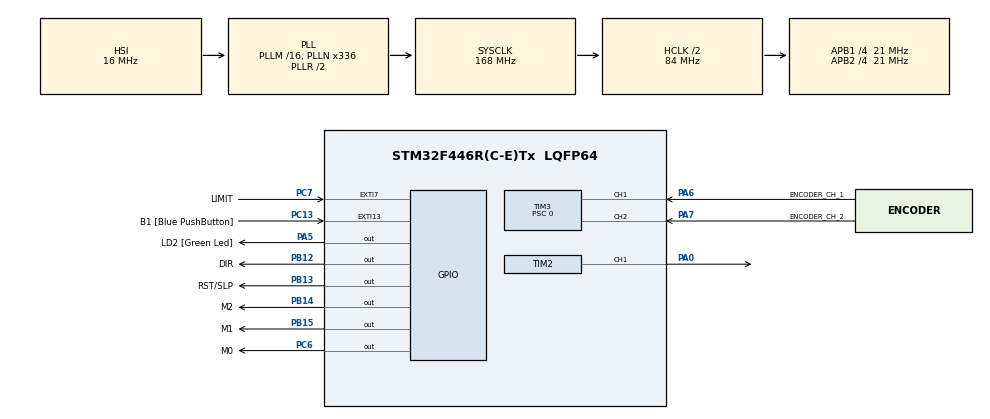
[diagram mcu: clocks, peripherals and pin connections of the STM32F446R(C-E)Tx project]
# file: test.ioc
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Dma.Request0=TIM4_UP
Dma.TIM4_UP.0.Direction=DMA_PERIPH_TO_MEMORY
Dma.TIM4_UP.0.FIFOMode=DMA_FIFOMODE_DISABLE
Dma.TIM4_UP.0.Instance=DMA1_Stream6
Dma.TIM4_UP.0.MemDataAlignment=DMA_MDATAALIGN_HALFWORD
Dma.TIM4_UP.0.MemInc=DMA_MINC_ENABLE
Dma.TIM4_UP.0.Mode=DMA_CIRCULAR
Dma.TIM4_UP.0.PeriphDataAlignment=DMA_PDATAALIGN_HALFWORD
Dma.TIM4_UP.0.PeriphInc=DMA_PINC_DISABLE
Dma.TIM4_UP.0.Priority=DMA_PRIORITY_LOW
Mcu.Family=STM32F4
Mcu.Name=STM32F446R(C-E)Tx
Mcu.Package=LQFP64
NVIC.DMA1_Stream6_IRQn=true\:0\:0\:false\:false\:true\:false\:true\:true
NVIC.EXTI9_5_IRQn=true\:0\:0\:false\:false\:true\:true\:true\:true
NVIC.PriorityGroup=NVIC_PRIORITYGROUP_0
NVIC.TIM1_UP_TIM10_IRQn=true\:0\:0\:false\:false\:true\:true\:true\:true
PA0-WKUP.GPIO_ModeDefaultPP=GPIO_MODE_AF_PP
PA0-WKUP.GPIO_PuPd=GPIO_NOPULL
PA0-WKUP.GPIO_Speed=GPIO_SPEED_FREQ_LOW
PA0-WKUP.Signal=S_TIM2_CH1_ETR
PA13.GPIO_Label=TMS
PA13.Signal=SYS_JTMS-SWDIO
PA14.GPIO_Label=TCK
PA14.Signal=SYS_JTCK-SWCLK
PA2.GPIO_Label=USART_TX
PA2.Signal=USART2_TX
PA3.GPIO_Label=USART_RX
PA3.Signal=USART2_RX
PA5.GPIO_Label=LD2 [Green Led]
PA5.Signal=GPIO_Output
PA6.GPIO_Label=ENCODER_CH_1
PA6.Signal=S_TIM3_CH1
PA7.GPIO_Label=ENCODER_CH_2
PA7.Signal=S_TIM3_CH2
PB12.GPIO_Label=DIR
PB12.Signal=GPIO_Output
PB13.GPIO_Label=RST/SLP
PB13.Signal=GPIO_Output
PB14.GPIO_Label=M2
PB14.Signal=GPIO_Output
PB15.GPIO_Label=M1
PB15.Signal=GPIO_Output
PB3.GPIO_Label=SWO
PB3.Signal=SYS_JTDO-SWO
PC13.GPIO_Label=B1 [Blue PushButton]
PC13.GPIO_ModeDefaultEXTI=GPIO_MODE_EVT_RISING
PC13.GPIO_PuPd=GPIO_PULLDOWN
PC13.Signal=GPXTI13
PC14-OSC32_IN.Signal=RCC_OSC32_IN
PC15-OSC32_OUT.Signal=RCC_OSC32_OUT
PC6.GPIO_Label=M0
PC6.Signal=GPIO_Output
PC7.GPIO_Label=LIMIT
PC7.GPIO_PuPd=GPIO_PULLDOWN
PC7.Signal=GPXTI7
PH0-OSC_IN.Signal=RCC_OSC_IN
PH1-OSC_OUT.Signal=RCC_OSC_OUT
ProjectManager.HeapSize=0x200
ProjectManager.StackSize=0x400
ProjectManager.TargetToolchain=STM32CubeIDE
RCC.AHBCLKDivider=RCC_SYSCLK_DIV2
RCC.AHBFreq_Value=84000000
RCC.APB1CLKDivider=RCC_HCLK_DIV4
RCC.APB1Freq_Value=21000000
RCC.APB1TimFreq_Value=42000000
RCC.APB2CLKDivider=RCC_HCLK_DIV4
RCC.APB2Freq_Value=21000000
RCC.APB2TimFreq_Value=42000000
RCC.CortexFreq_Value=84000000
RCC.FLatency-AdvancedSettings=FLASH_LATENCY_2
RCC.HCLKFreq_Value=84000000
RCC.HSE_VALUE=8000000
RCC.HSI_VALUE=16000000
RCC.LSE_VALUE=32768
RCC.PLLN=336
RCC.PLLP=RCC_PLLP_DIV4
RCC.SYSCLKFreq_VALUE=168000000
RCC.SYSCLKSource=RCC_SYSCLKSOURCE_PLLRCLK
RCC.USBFreq_Value=168000000
RCC.VCOOutputFreq_Value=336000000
SH.S_TIM2_CH1_ETR.0=TIM2_CH1,PWM Generation1 CH1
SH.S_TIM3_CH1.0=TIM3_CH1,Encoder_Interface
SH.S_TIM3_CH2.0=TIM3_CH2,Encoder_Interface
TIM1.Period=41999
TIM1.Prescaler=9
TIM2.Channel-PWM\ Generation1\ CH1=TIM_CHANNEL_1
TIM2.TIM_MasterOutputTrigger=TIM_TRGO_UPDATE
TIM3.EncoderMode=TIM_ENCODERMODE_TI12
TIM3.Period=2399
TIM3.Prescaler=0
TIM4.Period=839
TIM4.Prescaler=9
TIM5.TIM_MasterOutputTrigger=TIM_TRGO_RESET
VP_TIM1_VS_ClockSourceINT.Mode=Internal
VP_TIM2_VS_ClockSourceINT.Mode=Internal
VP_TIM2_VS_ClockSourceITR.Mode=TriggerSource_ITR0
VP_TIM4_VS_ClockSourceINT.Mode=Internal
VP_TIM5_VS_ClockSourceITR.Mode=TriggerSource_ITR0
VP_TIM5_VS_ControllerModeClock.Mode=Clock Mode
board=NUCLEO-F446RE

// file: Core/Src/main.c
/* USER CODE BEGIN Header */
/**
  ******************************************************************************
  * @file           : main.c
  * @brief          : Main program body
  ******************************************************************************
  * @attention
  *
  * Copyright (c) 2026 STMicroelectronics.
  * All rights reserved.
  *
  * This software is licensed under terms that can be found in the LICENSE file
  * in the root directory of this software component.
  * If no LICENSE file comes with this software, it is provided AS-IS.
  *
  ******************************************************************************
  */
/* USER CODE END Header */
#include "main.h"

/* USER CODE BEGIN Includes */
#include "encoder.h"
#include "motor.h"
#include "debug.h"
#include "lqr.h"
#include "swingup.h"
#include <stdbool.h>

/* USER CODE END Includes */

/* USER CODE BEGIN PD */
#define Fclk 42000000.0f
#define Fs 250.0f//1/2pi radq(g/l)
#define STEPS_PER_REV 200
#define FMAXmotor 32000.0f //DRV8825 8V [Hz]
#define ANGOLO_MIN 170
#define ANGOLO_MAX 190
/* USER CODE END PD */

TIM_HandleTypeDef htim1;
TIM_HandleTypeDef htim2;
TIM_HandleTypeDef htim3;
TIM_HandleTypeDef htim4;
TIM_HandleTypeDef htim5;
DMA_HandleTypeDef hdma_tim4_up;

/* USER CODE BEGIN PV */
drv_t drv;
motor_t motor;
motor_drv_t motor_drv;
Encoder_HandleTypeDef encoder;
volatile float acc = 0.0;
swingup_t su;
volatile uint8_t control_on = 0u;
volatile uint8_t guasto = 0u;
volatile uint8_t pronto = 0u;
volatile  bool LIMITE = false;
volatile uint8_t contaHit = 0u;
volatile uint8_t sistemapronto = 0u;
/* USER CODE END PV */

void SystemClock_Config(void);
static void MX_GPIO_Init(void);
static void MX_DMA_Init(void);
static void MX_TIM1_Init(void);
static void MX_TIM2_Init(void);
static void MX_TIM3_Init(void);
static void MX_TIM4_Init(void);
static void MX_TIM5_Init(void);

int main(void)
{

  /* MCU Configuration--------------------------------------------------------*/

  /* Reset of all peripherals, Initializes the Flash interface and the Systick. */
  HAL_Init();

  /* Configure the system clock */
  SystemClock_Config();

  /* Initialize all configured peripherals */
  MX_GPIO_Init();
  MX_DMA_Init();
  MX_TIM1_Init();
  MX_TIM2_Init();
  MX_TIM3_Init();
  MX_TIM4_Init();
  MX_TIM5_Init();
  /* USER CODE BEGIN 2 */
  /* Inizializzazione ed esecuzione senza interrupt */
  //DISABILITA INTERRUPT DMA
  //DMA1_Stream6->CR &= ~DMA_SxCR_TCIE;
  //HAL_NVIC_DisableIRQ(DMA1_Stream6_IRQn);

  //START ENCODER E TIM4 PER CAMPIONAMENTO
  init_Encoder(&encoder, CPR, RES, 1.0f/Fs);
  __HAL_TIM_ENABLE_DMA(&htim4, TIM_DMA_UPDATE);
  if (HAL_DMA_Start(&hdma_tim4_up, (uint32_t)&TIM3->CNT, (uint32_t)encoder.timcount_array, DMA_BUFFER_SIZE) != HAL_OK)
  {
    Error_Handler();
  }
  if (HAL_TIM_Base_Start(&htim4) != HAL_OK)
  {
    Error_Handler();
  }
  //TIM3 PER LETTURA ENCODER
  if (HAL_TIM_Encoder_Start(&htim3, TIM_CHANNEL_ALL) != HAL_OK)
  {
    Error_Handler();
  }
  //TIM5 PER CONTARE PASSI
  HAL_TIM_Base_Start(&htim5);
  //TIM2 PER PWM E MOTOR DRIVER
  drv_init(&drv, 32, M0_GPIO_Port, M0_Pin, M1_GPIO_Port, M1_Pin, M2_GPIO_Port, M2_Pin, DIR_GPIO_Port, DIR_Pin, RST_SLP_GPIO_Port, RST_SLP_Pin);
  motor_init(&motor, STEPS_PER_REV, &htim2, &htim5, TIM_CHANNEL_1, FMAXmotor, Fclk, Fs);
  motor_drv_init(&motor_drv, &drv, &motor);

  //------------HOMING------------
  //COMMENTI PER FAR PARTIRE DIRETTAMENTE IL CONTROLLO LQR SENZA HOMING
  swingup_init(&su);

  //while (HAL_GPIO_ReadPin(B1_GPIO_Port, B1_Pin) == GPIO_PIN_SET) {}; // attende la pressione

  //pronto = 1u;  //LASCIA DECOMMENTATO ALTRIMENTI NON PARTE

  //motor_homing(&motor_drv,&LIMITE);

  sistemapronto = 1u;
  //------------ TIM1 PER AZIONE CONTROLLO ------------
  if (HAL_TIM_Base_Start_IT(&htim1) != HAL_OK)
  {
    Error_Handler();
  }

  /* USER CODE END 2 */

  /* Infinite loop */
  while (1)
  {

  }
}

void SystemClock_Config(void)
{
  RCC_OscInitTypeDef RCC_OscInitStruct = {0};
  RCC_ClkInitTypeDef RCC_ClkInitStruct = {0};

  /** Configure the main internal regulator output voltage
  */
  __HAL_RCC_PWR_CLK_ENABLE();
  __HAL_PWR_VOLTAGESCALING_CONFIG(PWR_REGULATOR_VOLTAGE_SCALE3);

  /** Initializes the RCC Oscillators according to the specified parameters
  * in the RCC_OscInitTypeDef structure.
  */
  RCC_OscInitStruct.OscillatorType = RCC_OSCILLATORTYPE_HSI;
  RCC_OscInitStruct.HSIState = RCC_HSI_ON;
  RCC_OscInitStruct.HSICalibrationValue = RCC_HSICALIBRATION_DEFAULT;
  RCC_OscInitStruct.PLL.PLLState = RCC_PLL_ON;
  RCC_OscInitStruct.PLL.PLLSource = RCC_PLLSOURCE_HSI;
  RCC_OscInitStruct.PLL.PLLM = 16;
  RCC_OscInitStruct.PLL.PLLN = 336;
  RCC_OscInitStruct.PLL.PLLP = RCC_PLLP_DIV4;
  RCC_OscInitStruct.PLL.PLLQ = 2;
  RCC_OscInitStruct.PLL.PLLR = 2;
  if (HAL_RCC_OscConfig(&RCC_OscInitStruct) != HAL_OK)
  {
    Error_Handler();
  }

  /** Initializes the CPU, AHB and APB buses clocks
  */
  RCC_ClkInitStruct.ClockType = RCC_CLOCKTYPE_HCLK|RCC_CLOCKTYPE_SYSCLK
                              |RCC_CLOCKTYPE_PCLK1|RCC_CLOCKTYPE_PCLK2;
  RCC_ClkInitStruct.SYSCLKSource = RCC_SYSCLKSOURCE_PLLRCLK;
  RCC_ClkInitStruct.AHBCLKDivider = RCC_SYSCLK_DIV2;
  RCC_ClkInitStruct.APB1CLKDivider = RCC_HCLK_DIV4;
  RCC_ClkInitStruct.APB2CLKDivider = RCC_HCLK_DIV4;

  if (HAL_RCC_ClockConfig(&RCC_ClkInitStruct, FLASH_LATENCY_2) != HAL_OK)
  {
    Error_Handler();
  }
}

static void MX_TIM1_Init(void)
{

  TIM_ClockConfigTypeDef sClockSourceConfig = {0};
  TIM_MasterConfigTypeDef sMasterConfig = {0};

  htim1.Instance = TIM1;
  htim1.Init.Prescaler = 2;
  htim1.Init.CounterMode = TIM_COUNTERMODE_UP;
  htim1.Init.Period = 55999;
  htim1.Init.ClockDivision = TIM_CLOCKDIVISION_DIV1;
  htim1.Init.RepetitionCounter = 0;
  htim1.Init.AutoReloadPreload = TIM_AUTORELOAD_PRELOAD_DISABLE;
  if (HAL_TIM_Base_Init(&htim1) != HAL_OK)
  {
    Error_Handler();
  }
  sClockSourceConfig.ClockSource = TIM_CLOCKSOURCE_INTERNAL;
  if (HAL_TIM_ConfigClockSource(&htim1, &sClockSourceConfig) != HAL_OK)
  {
    Error_Handler();
  }
  sMasterConfig.MasterOutputTrigger = TIM_TRGO_RESET;
  sMasterConfig.MasterSlaveMode = TIM_MASTERSLAVEMODE_DISABLE;
  if (HAL_TIMEx_MasterConfigSynchronization(&htim1, &sMasterConfig) != HAL_OK)
  {
    Error_Handler();
  }

}

static void MX_TIM2_Init(void)
{

  TIM_ClockConfigTypeDef sClockSourceConfig = {0};
  TIM_SlaveConfigTypeDef sSlaveConfig = {0};
  TIM_MasterConfigTypeDef sMasterConfig = {0};
  TIM_OC_InitTypeDef sConfigOC = {0};

  htim2.Instance = TIM2;
  htim2.Init.Prescaler = 0;
  htim2.Init.CounterMode = TIM_COUNTERMODE_UP;
  htim2.Init.Period = 4294967295;
  htim2.Init.ClockDivision = TIM_CLOCKDIVISION_DIV1;
  htim2.Init.AutoReloadPreload = TIM_AUTORELOAD_PRELOAD_DISABLE;
  if (HAL_TIM_Base_Init(&htim2) != HAL_OK)
  {
    Error_Handler();
  }
  sClockSourceConfig.ClockSource = TIM_CLOCKSOURCE_INTERNAL;
  if (HAL_TIM_ConfigClockSource(&htim2, &sClockSourceConfig) != HAL_OK)
  {
    Error_Handler();
  }
  if (HAL_TIM_PWM_Init(&htim2) != HAL_OK)
  {
    Error_Handler();
  }
  sSlaveConfig.SlaveMode = TIM_SLAVEMODE_DISABLE;
  sSlaveConfig.InputTrigger = TIM_TS_ITR0;
  if (HAL_TIM_SlaveConfigSynchro(&htim2, &sSlaveConfig) != HAL_OK)
  {
    Error_Handler();
  }
  sMasterConfig.MasterOutputTrigger = TIM_TRGO_UPDATE;
  sMasterConfig.MasterSlaveMode = TIM_MASTERSLAVEMODE_DISABLE;
  if (HAL_TIMEx_MasterConfigSynchronization(&htim2, &sMasterConfig) != HAL_OK)
  {
    Error_Handler();
  }
  sConfigOC.OCMode = TIM_OCMODE_PWM1;
  sConfigOC.Pulse = 0;
  sConfigOC.OCPolarity = TIM_OCPOLARITY_HIGH;
  sConfigOC.OCFastMode = TIM_OCFAST_DISABLE;
  if (HAL_TIM_PWM_ConfigChannel(&htim2, &sConfigOC, TIM_CHANNEL_1) != HAL_OK)
  {
    Error_Handler();
  }
  HAL_TIM_MspPostInit(&htim2);

}

static void MX_TIM3_Init(void)
{

  TIM_Encoder_InitTypeDef sConfig = {0};
  TIM_MasterConfigTypeDef sMasterConfig = {0};

  htim3.Instance = TIM3;
  htim3.Init.Prescaler = 0;
  htim3.Init.CounterMode = TIM_COUNTERMODE_UP;
  htim3.Init.Period = 2399;
  htim3.Init.ClockDivision = TIM_CLOCKDIVISION_DIV1;
  htim3.Init.AutoReloadPreload = TIM_AUTORELOAD_PRELOAD_DISABLE;
  sConfig.EncoderMode = TIM_ENCODERMODE_TI12;
  sConfig.IC1Polarity = TIM_ICPOLARITY_RISING;
  sConfig.IC1Selection = TIM_ICSELECTION_DIRECTTI;
  sConfig.IC1Prescaler = TIM_ICPSC_DIV1;
  sConfig.IC1Filter = 0;
  sConfig.IC2Polarity = TIM_ICPOLARITY_RISING;
  sConfig.IC2Selection = TIM_ICSELECTION_DIRECTTI;
  sConfig.IC2Prescaler = TIM_ICPSC_DIV1;
  sConfig.IC2Filter = 0;
  if (HAL_TIM_Encoder_Init(&htim3, &sConfig) != HAL_OK)
  {
    Error_Handler();
  }
  sMasterConfig.MasterOutputTrigger = TIM_TRGO_RESET;
  sMasterConfig.MasterSlaveMode = TIM_MASTERSLAVEMODE_DISABLE;
  if (HAL_TIMEx_MasterConfigSynchronization(&htim3, &sMasterConfig) != HAL_OK)
  {
    Error_Handler();
  }

}

static void MX_TIM4_Init(void)
{

  TIM_ClockConfigTypeDef sClockSourceConfig = {0};
  TIM_MasterConfigTypeDef sMasterConfig = {0};

  htim4.Instance = TIM4;
  htim4.Init.Prescaler = 1;
  htim4.Init.CounterMode = TIM_COUNTERMODE_UP;
  htim4.Init.Period = 6301;
  htim4.Init.ClockDivision = TIM_CLOCKDIVISION_DIV1;
  htim4.Init.AutoReloadPreload = TIM_AUTORELOAD_PRELOAD_DISABLE;
  if (HAL_TIM_Base_Init(&htim4) != HAL_OK)
  {
    Error_Handler();
  }
  sClockSourceConfig.ClockSource = TIM_CLOCKSOURCE_INTERNAL;
  if (HAL_TIM_ConfigClockSource(&htim4, &sClockSourceConfig) != HAL_OK)
  {
    Error_Handler();
  }
  sMasterConfig.MasterOutputTrigger = TIM_TRGO_RESET;
  sMasterConfig.MasterSlaveMode = TIM_MASTERSLAVEMODE_DISABLE;
  if (HAL_TIMEx_MasterConfigSynchronization(&htim4, &sMasterConfig) != HAL_OK)
  {
    Error_Handler();
  }

}

static void MX_TIM5_Init(void)
{

  TIM_SlaveConfigTypeDef sSlaveConfig = {0};
  TIM_MasterConfigTypeDef sMasterConfig = {0};

  htim5.Instance = TIM5;
  htim5.Init.Prescaler = 0;
  htim5.Init.CounterMode = TIM_COUNTERMODE_UP;
  htim5.Init.Period = 4294967295;
  htim5.Init.ClockDivision = TIM_CLOCKDIVISION_DIV1;
  htim5.Init.AutoReloadPreload = TIM_AUTORELOAD_PRELOAD_DISABLE;
  if (HAL_TIM_Base_Init(&htim5) != HAL_OK)
  {
    Error_Handler();
  }
  sSlaveConfig.SlaveMode = TIM_SLAVEMODE_EXTERNAL1;
  sSlaveConfig.InputTrigger = TIM_TS_ITR0;
  if (HAL_TIM_SlaveConfigSynchro(&htim5, &sSlaveConfig) != HAL_OK)
  {
    Error_Handler();
  }
  sMasterConfig.MasterOutputTrigger = TIM_TRGO_RESET;
  sMasterConfig.MasterSlaveMode = TIM_MASTERSLAVEMODE_DISABLE;
  if (HAL_TIMEx_MasterConfigSynchronization(&htim5, &sMasterConfig) != HAL_OK)
  {
    Error_Handler();
  }

}

static void MX_DMA_Init(void)
{

  /* DMA controller clock enable */
  __HAL_RCC_DMA1_CLK_ENABLE();

  /* DMA interrupt init */
  /* DMA1_Stream6_IRQn interrupt configuration */
  HAL_NVIC_SetPriority(DMA1_Stream6_IRQn, 0, 0);
  HAL_NVIC_EnableIRQ(DMA1_Stream6_IRQn);

}

static void MX_GPIO_Init(void)
{
  GPIO_InitTypeDef GPIO_InitStruct = {0};

  /* GPIO Ports Clock Enable */
  __HAL_RCC_GPIOC_CLK_ENABLE();
  __HAL_RCC_GPIOH_CLK_ENABLE();
  __HAL_RCC_GPIOA_CLK_ENABLE();
  __HAL_RCC_GPIOB_CLK_ENABLE();

  /*Configure GPIO pin Output Level */
  HAL_GPIO_WritePin(LD2_GPIO_Port, LD2_Pin, GPIO_PIN_RESET);

  /*Configure GPIO pin Output Level */
  HAL_GPIO_WritePin(GPIOB, DIR_Pin|RST_SLP_Pin|M2_Pin|M1_Pin, GPIO_PIN_RESET);

  /*Configure GPIO pin Output Level */
  HAL_GPIO_WritePin(M0_GPIO_Port, M0_Pin, GPIO_PIN_RESET);

  /*Configure GPIO pin : B1_Pin */
  GPIO_InitStruct.Pin = B1_Pin;
  GPIO_InitStruct.Mode = GPIO_MODE_EVT_RISING;
  GPIO_InitStruct.Pull = GPIO_PULLDOWN;
  HAL_GPIO_Init(B1_GPIO_Port, &GPIO_InitStruct);

  /*Configure GPIO pins : USART_TX_Pin USART_RX_Pin */
  GPIO_InitStruct.Pin = USART_TX_Pin|USART_RX_Pin;
  GPIO_InitStruct.Mode = GPIO_MODE_AF_PP;
  GPIO_InitStruct.Pull = GPIO_NOPULL;
  GPIO_InitStruct.Speed = GPIO_SPEED_FREQ_VERY_HIGH;
  GPIO_InitStruct.Alternate = GPIO_AF7_USART2;
  HAL_GPIO_Init(GPIOA, &GPIO_InitStruct);

  /*Configure GPIO pin : LD2_Pin */
  GPIO_InitStruct.Pin = LD2_Pin;
  GPIO_InitStruct.Mode = GPIO_MODE_OUTPUT_PP;
  GPIO_InitStruct.Pull = GPIO_NOPULL;
  GPIO_InitStruct.Speed = GPIO_SPEED_FREQ_LOW;
  HAL_GPIO_Init(LD2_GPIO_Port, &GPIO_InitStruct);

  /*Configure GPIO pins : DIR_Pin RST_SLP_Pin M2_Pin M1_Pin */
  GPIO_InitStruct.Pin = DIR_Pin|RST_SLP_Pin|M2_Pin|M1_Pin;
  GPIO_InitStruct.Mode = GPIO_MODE_OUTPUT_PP;
  GPIO_InitStruct.Pull = GPIO_NOPULL;
  GPIO_InitStruct.Speed = GPIO_SPEED_FREQ_LOW;
  HAL_GPIO_Init(GPIOB, &GPIO_InitStruct);

  /*Configure GPIO pin : M0_Pin */
  GPIO_InitStruct.Pin = M0_Pin;
  GPIO_InitStruct.Mode = GPIO_MODE_OUTPUT_PP;
  GPIO_InitStruct.Pull = GPIO_NOPULL;
  GPIO_InitStruct.Speed = GPIO_SPEED_FREQ_LOW;
  HAL_GPIO_Init(M0_GPIO_Port, &GPIO_InitStruct);

  /*Configure GPIO pin : LIMIT_Pin */
  GPIO_InitStruct.Pin = LIMIT_Pin;
  GPIO_InitStruct.Mode = GPIO_MODE_IT_RISING;
  GPIO_InitStruct.Pull = GPIO_PULLDOWN;
  HAL_GPIO_Init(LIMIT_GPIO_Port, &GPIO_InitStruct);

  /* EXTI interrupt init*/
  HAL_NVIC_SetPriority(EXTI9_5_IRQn, 0, 0);
  HAL_NVIC_EnableIRQ(EXTI9_5_IRQn);

}

/* USER CODE BEGIN 4 */
void HAL_TIM_PeriodElapsedCallback(TIM_HandleTypeDef *htim)
{
    if (htim->Instance == TIM1)
    {
      //if (!pronto) return;
      if (guasto) return;
      update_Encoder(&encoder);
      uint8_t in_range = (encoder.angle >= ANGOLO_MIN && encoder.angle <= ANGOLO_MAX);
      motor_aggiorna_posizione(&motor_drv);

      if (in_range && !control_on) {
          control_on = 1u;
      }
      else if (!in_range && control_on) {
          /* uscita dal range (LQR -> SWINGUP): il pendolo e' caduto */
          control_on = 0u;
          lqr_reset();
      }

      if (control_on) {
          /* stato LQR */
          lqr_controller(&encoder, &motor_drv, &acc);
          motor_acc(acc, &motor_drv);
      }
      else {
          // stato SWINGUP: swingup_update() chiama gia' motor_acc()
          swingup_update(&su, &encoder, &motor_drv);
          acc = su.acc;
      }
    }
}

void HAL_GPIO_EXTI_Callback(uint16_t GPIO_Pin)
{
  if(GPIO_Pin == LIMIT_Pin){
	LIMITE = true;
    contaHit++;
    if(sistemapronto){
      motor_stop(&motor_drv);
      control_on = 0u;
      guasto = 1u;
    }
  }
}
/* USER CODE END 4 */

void Error_Handler(void)
{
  __disable_irq();
  while (1)
  {
  }
}
